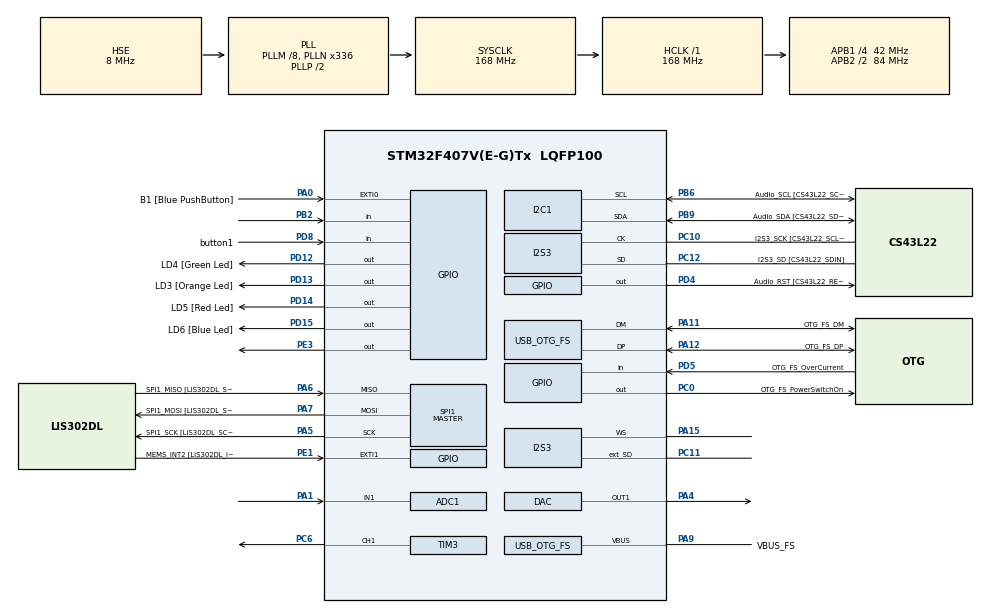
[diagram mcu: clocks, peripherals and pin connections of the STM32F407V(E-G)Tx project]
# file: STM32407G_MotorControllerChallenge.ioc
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ADC1.Channel-0\#ChannelRegularConversion=ADC_CHANNEL_1
ADC1.ExternalTrigConv=ADC_EXTERNALTRIGCONV_T2_CC2
ADC1.NbrOfConversionFlag=1
ADC1.Rank-0\#ChannelRegularConversion=1
ADC1.SamplingTime-0\#ChannelRegularConversion=ADC_SAMPLETIME_3CYCLES
ADC1.master=1
Dma.ADC1.0.Direction=DMA_PERIPH_TO_MEMORY
Dma.ADC1.0.FIFOMode=DMA_FIFOMODE_DISABLE
Dma.ADC1.0.Instance=DMA2_Stream0
Dma.ADC1.0.MemDataAlignment=DMA_MDATAALIGN_WORD
Dma.ADC1.0.MemInc=DMA_MINC_ENABLE
Dma.ADC1.0.Mode=DMA_NORMAL
Dma.ADC1.0.PeriphDataAlignment=DMA_PDATAALIGN_WORD
Dma.ADC1.0.PeriphInc=DMA_PINC_DISABLE
Dma.ADC1.0.Priority=DMA_PRIORITY_LOW
Dma.Request0=ADC1
I2S3.ErrorAudioFreq=0.0 %
I2S3.FullDuplexMode=I2S_FULLDUPLEXMODE_ENABLE
I2S3.Instance=SPI$Index
I2S3.RealAudioFreq=8.0 KHz
I2S3.VirtualMode=I2S_MODE_MASTER
Mcu.Family=STM32F4
Mcu.Name=STM32F407V(E-G)Tx
Mcu.Package=LQFP100
NVIC.DMA2_Stream0_IRQn=true\:0\:0\:false\:false\:true\:false\:true\:true
NVIC.OTG_FS_IRQn=true\:0\:0\:false\:false\:true\:true\:true\:true
NVIC.PriorityGroup=NVIC_PRIORITYGROUP_0
PA0-WKUP.GPIO_Label=B1 [Blue PushButton]
PA0-WKUP.GPIO_ModeDefaultEXTI=GPIO_MODE_EVT_RISING
PA0-WKUP.GPIO_PuPd=GPIO_NOPULL
PA0-WKUP.Signal=GPXTI0
PA1.Signal=ADCx_IN1
PA10.GPIO_Label=OTG_FS_ID
PA10.GPIO_Mode=GPIO_MODE_AF_PP
PA10.GPIO_PuPd=GPIO_NOPULL
PA10.GPIO_Speed=GPIO_SPEED_FREQ_LOW
PA10.Signal=USB_OTG_FS_ID
PA11.GPIO_Label=OTG_FS_DM
PA11.GPIO_Mode=GPIO_MODE_AF_PP
PA11.GPIO_PuPd=GPIO_NOPULL
PA11.GPIO_Speed=GPIO_SPEED_FREQ_LOW
PA11.Mode=Host_Only
PA11.Signal=USB_OTG_FS_DM
PA12.GPIO_Label=OTG_FS_DP
PA12.GPIO_Mode=GPIO_MODE_AF_PP
PA12.GPIO_PuPd=GPIO_NOPULL
PA12.GPIO_Speed=GPIO_SPEED_FREQ_LOW
PA12.Mode=Host_Only
PA12.Signal=USB_OTG_FS_DP
PA13.GPIO_Label=SWDIO
PA13.Mode=Serial_Wire
PA13.Signal=SYS_JTMS-SWDIO
PA14.GPIO_Label=SWCLK
PA14.Mode=Serial_Wire
PA14.Signal=SYS_JTCK-SWCLK
PA15.Mode=Full_Duplex_Master
PA15.Signal=I2S3_WS
PA4.Signal=COMP_DAC1_group
PA5.GPIO_Label=SPI1_SCK [LIS302DL_SCL/SPC]
PA5.GPIO_Mode=GPIO_MODE_AF_PP
PA5.GPIO_PuPd=GPIO_NOPULL
PA5.GPIO_Speed=GPIO_SPEED_FREQ_LOW
PA5.Mode=Full_Duplex_Master
PA5.Signal=SPI1_SCK
PA6.GPIO_Label=SPI1_MISO [LIS302DL_SDO]
PA6.GPIO_Mode=GPIO_MODE_AF_PP
PA6.GPIO_PuPd=GPIO_NOPULL
PA6.GPIO_Speed=GPIO_SPEED_FREQ_LOW
PA6.Mode=Full_Duplex_Master
PA6.Signal=SPI1_MISO
PA7.GPIO_Label=SPI1_MOSI [LIS302DL_SDA/SDI/SDO]
PA7.GPIO_Mode=GPIO_MODE_AF_PP
PA7.GPIO_PuPd=GPIO_NOPULL
PA7.GPIO_Speed=GPIO_SPEED_FREQ_LOW
PA7.Mode=Full_Duplex_Master
PA7.Signal=SPI1_MOSI
PA9.GPIO_Label=VBUS_FS
PA9.GPIO_Mode=GPIO_MODE_INPUT
PA9.GPIO_PuPd=GPIO_NOPULL
PA9.Mode=Activate_VBUS
PA9.Signal=USB_OTG_FS_VBUS
PB10.GPIO_Label=CLK_IN [MP45DT02_CLK]
PB10.GPIO_Mode=GPIO_MODE_AF_PP
PB10.GPIO_PuPd=GPIO_NOPULL
PB10.GPIO_Speed=GPIO_SPEED_FREQ_LOW
PB10.Signal=I2S2_CK
PB2.Signal=GPIO_Input
PB3.GPIO_Label=SWO
PB3.Signal=SYS_JTDO-SWO
PB6.GPIO_Label=Audio_SCL [CS43L22_SCL]
PB6.GPIO_Mode=GPIO_MODE_AF_OD
PB6.GPIO_Pu=GPIO_PULLUP
PB6.GPIO_PuPd=GPIO_NOPULL
PB6.GPIO_Speed=GPIO_SPEED_FREQ_LOW
PB6.Mode=I2C
PB6.Signal=I2C1_SCL
PB9.GPIO_Label=Audio_SDA [CS43L22_SDA]
PB9.GPIO_Mode=GPIO_MODE_AF_OD
PB9.GPIO_Pu=GPIO_PULLUP
PB9.GPIO_PuPd=GPIO_NOPULL
PB9.GPIO_Speed=GPIO_SPEED_FREQ_LOW
PB9.Mode=I2C
PB9.Signal=I2C1_SDA
PC0.GPIO_Label=OTG_FS_PowerSwitchOn
PC0.GPIO_PuPd=GPIO_NOPULL
PC0.GPIO_Speed=GPIO_SPEED_FREQ_LOW
PC0.PinState=GPIO_PIN_SET
PC0.Signal=GPIO_Output
PC10.GPIO_Label=I2S3_SCK [CS43L22_SCLK]
PC10.GPIO_Mode=GPIO_MODE_AF_PP
PC10.GPIO_PuPd=GPIO_NOPULL
PC10.GPIO_Speed=GPIO_SPEED_FREQ_LOW
PC10.Mode=Full_Duplex_Master
PC10.Signal=I2S3_CK
PC11.Mode=Full_Duplex_Master
PC11.Signal=I2S3_ext_SD
PC12.GPIO_Label=I2S3_SD [CS43L22_SDIN]
PC12.GPIO_Mode=GPIO_MODE_AF_PP
PC12.GPIO_PuPd=GPIO_NOPULL
PC12.GPIO_Speed=GPIO_SPEED_FREQ_LOW
PC12.Mode=Full_Duplex_Master
PC12.Signal=I2S3_SD
PC14-OSC32_IN.GPIO_Label=PC14-OSC32_IN
PC14-OSC32_IN.Mode=LSE-External-Oscillator
PC14-OSC32_IN.Signal=RCC_OSC32_IN
PC15-OSC32_OUT.GPIO_Label=PC15-OSC32_OUT
PC15-OSC32_OUT.Mode=LSE-External-Oscillator
PC15-OSC32_OUT.Signal=RCC_OSC32_OUT
PC3.GPIO_Label=PDM_OUT [MP45DT02_DOUT]
PC3.GPIO_Mode=GPIO_MODE_AF_PP
PC3.GPIO_PuPd=GPIO_NOPULL
PC3.GPIO_Speed=GPIO_SPEED_FREQ_LOW
PC3.Signal=I2S2_SD
PC6.Signal=S_TIM3_CH1
PC7.GPIO_Label=I2S3_MCK [CS43L22_MCLK]
PC7.GPIO_Mode=GPIO_MODE_AF_PP
PC7.GPIO_PuPd=GPIO_NOPULL
PC7.GPIO_Speed=GPIO_SPEED_FREQ_LOW
PC7.Signal=I2S3_MCK
PD12.GPIO_Label=LD4 [Green Led]
PD12.GPIO_PuPd=GPIO_NOPULL
PD12.GPIO_Speed=GPIO_SPEED_FREQ_LOW
PD12.Signal=GPIO_Output
PD13.GPIO_Label=LD3 [Orange Led]
PD13.GPIO_PuPd=GPIO_NOPULL
PD13.GPIO_Speed=GPIO_SPEED_FREQ_LOW
PD13.Signal=GPIO_Output
PD14.GPIO_Label=LD5 [Red Led]
PD14.GPIO_PuPd=GPIO_NOPULL
PD14.GPIO_Speed=GPIO_SPEED_FREQ_LOW
PD14.Signal=GPIO_Output
PD15.GPIO_Label=LD6 [Blue Led]
PD15.GPIO_PuPd=GPIO_NOPULL
PD15.GPIO_Speed=GPIO_SPEED_FREQ_LOW
PD15.Signal=GPIO_Output
PD4.GPIO_Label=Audio_RST [CS43L22_RESET]
PD4.GPIO_PuPd=GPIO_NOPULL
PD4.GPIO_Speed=GPIO_SPEED_FREQ_LOW
PD4.Signal=GPIO_Output
PD5.GPIO_Label=OTG_FS_OverCurrent
PD5.GPIO_Mode=GPIO_MODE_INPUT
PD5.GPIO_PuPd=GPIO_NOPULL
PD5.Signal=GPIO_Input
PD8.GPIO_Label=button1
PD8.GPIO_PuPd=GPIO_PULLDOWN
PD8.Signal=GPIO_Input
PE1.GPIO_Label=MEMS_INT2 [LIS302DL_INT2]
PE1.GPIO_ModeDefaultEXTI=GPIO_MODE_EVT_RISING
PE1.GPIO_PuPd=GPIO_NOPULL
PE1.Signal=GPXTI1
PE3.Signal=GPIO_Output
PH0-OSC_IN.GPIO_Label=PH0-OSC_IN
PH0-OSC_IN.Mode=HSE-External-Oscillator
PH0-OSC_IN.Signal=RCC_OSC_IN
PH1-OSC_OUT.GPIO_Label=PH1-OSC_OUT
PH1-OSC_OUT.Mode=HSE-External-Oscillator
PH1-OSC_OUT.Signal=RCC_OSC_OUT
ProjectManager.HeapSize=0x200
ProjectManager.StackSize=0x400
ProjectManager.TargetToolchain=STM32CubeIDE
RCC.48MHZClocksFreq_Value=48000000
RCC.AHBFreq_Value=168000000
RCC.APB1CLKDivider=RCC_HCLK_DIV4
RCC.APB1Freq_Value=42000000
RCC.APB1TimFreq_Value=84000000
RCC.APB2CLKDivider=RCC_HCLK_DIV2
RCC.APB2Freq_Value=84000000
RCC.APB2TimFreq_Value=168000000
RCC.CortexFreq_Value=168000000
RCC.HCLKFreq_Value=168000000
RCC.HSE_VALUE=8000000
RCC.HSI_VALUE=16000000
RCC.PLLM=8
RCC.PLLN=336
RCC.PLLQ=7
RCC.SYSCLKFreq_VALUE=168000000
RCC.SYSCLKSource=RCC_SYSCLKSOURCE_PLLCLK
RCC.VCOOutputFreq_Value=336000000
SH.ADCx_IN1.0=ADC1_IN1,IN1
SH.COMP_DAC1_group.0=DAC_OUT1,DAC_OUT1
SH.S_TIM3_CH1.0=TIM3_CH1,PWM Generation1 CH1
SPI1.BaudRatePrescaler-Full_Duplex_Master=SPI_BAUDRATEPRESCALER_2
SPI1.CalculateBaudRate-Full_Duplex_Master=42.0 MBits/s
SPI1.Direction=SPI_DIRECTION_2LINES
SPI1.Mode=SPI_MODE_MASTER
SPI1.Mode-Full_Duplex_Master=SPI_MODE_MASTER
SPI1.VirtualType=VM_MASTER
TIM2.Period=999
TIM2.Prescaler=8399
TIM2.TIM_MasterOutputTrigger=TIM_TRGO_UPDATE
TIM3.Channel-PWM\ Generation1\ CH1=TIM_CHANNEL_1
TIM3.Period=1000
USB_HOST.BSP.number=1
USB_HOST.USBH_HandleTypeDef-CDC_FS=hUsbHostFS
USB_HOST.VirtualModeFS=Cdc
USB_HOST0.BSP.STBoard=false
USB_HOST0.BSP.api=Unknown
USB_HOST0.BSP.instance=PC0
USB_HOST0.BSP.ip=GPIO
USB_HOST0.BSP.mode=Output
USB_HOST0.BSP.name=Drive_VBUS_FS
USB_HOST0.BSP.solution=PC0
USB_OTG_FS.VirtualMode=Host_Only
USB_OTG_FS.phy_itface=HCD_PHY_EMBEDDED
VP_TIM2_VS_ClockSourceINT.Mode=Internal
VP_TIM3_VS_ClockSourceINT.Mode=Internal
VP_USB_HOST_VS_USB_HOST_CDC_FS.Mode=CDC_FS
board=STM32F407G-DISC1

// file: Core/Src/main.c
/* USER CODE BEGIN Header */
/**
  ******************************************************************************
  * @file           : main.c
  * @brief          : Main program body
  ******************************************************************************
  * @attention
  *
  * Copyright (c) 2025 STMicroelectronics.
  * All rights reserved.
  *
  * This software is licensed under terms that can be found in the LICENSE file
  * in the root directory of this software component.
  * If no LICENSE file comes with this software, it is provided AS-IS.
  *
  ******************************************************************************
  */
/* USER CODE END Header */
#include "main.h"
#include "usb_host.h"

/* USER CODE BEGIN Includes */
#include "stm32f4xx_hal.h"
#include <stdbool.h>
/* USER CODE END Includes */

ADC_HandleTypeDef hadc1;
DMA_HandleTypeDef hdma_adc1;

DAC_HandleTypeDef hdac;

I2C_HandleTypeDef hi2c1;

I2S_HandleTypeDef hi2s3;

SPI_HandleTypeDef hspi1;

TIM_HandleTypeDef htim2;
TIM_HandleTypeDef htim3;

/* USER CODE BEGIN PV */
#define BAT_LOW_mV      2000  // 2 V cut-off
#define BAT_HIGH_mV     3000  // 3 V restart
#define CLICK_WINDOW_MS 500   // interval to group clicks
#define VREF_mV         3000  // PA1 is referenced to 3 V analog domain
volatile uint16_t adc_raw = 0;
volatile uint32_t last_click_ms = 0;
volatile uint8_t  click_count   = 0;
volatile bool     motor_enabled = true;
/* USER CODE END PV */

void SystemClock_Config(void);
static void MX_GPIO_Init(void);
static void MX_DMA_Init(void);
static void MX_I2C1_Init(void);
static void MX_SPI1_Init(void);
static void MX_ADC1_Init(void);
static void MX_TIM2_Init(void);
static void MX_DAC_Init(void);
static void MX_I2S3_Init(void);
static void MX_TIM3_Init(void);
void MX_USB_HOST_Process(void);

/* USER CODE BEGIN 0 */
static uint32_t mv_from_raw(uint16_t raw);
static void     apply_motor_state(void);
static void     set_direction(uint8_t dir);
typedef enum { DIR_STOP = 0, DIR_CCW, DIR_CW } motor_dir_t;
volatile motor_dir_t motor_dir = DIR_CW;

/* USER CODE END 0 */

int main(void)
{

  /* USER CODE BEGIN 1 */
	static uint32_t mv_from_raw(uint16_t raw)
	{
	  return (uint32_t)raw * VREF_mV / 4095;  // 12-bit
	}

	static void apply_motor_state(void)
	{
	  if (!motor_enabled || motor_dir == DIR_STOP) {
	      __HAL_TIM_SET_COMPARE(&htim4, TIM_CHANNEL_1, 0);  // PWM 0 %
	      return;
	  }

	  __HAL_TIM_SET_COMPARE(&htim4, TIM_CHANNEL_1, 500);
	}

	static void set_direction(uint8_t dirClicks)
	{
	  switch (dirClicks) {
	    case 1: motor_dir = DIR_STOP; break;
	    case 2: motor_dir = DIR_CCW;  break;
	    case 3: motor_dir = DIR_CW;   break;
	    default: break;
	  }
	  apply_motor_state();
	}

  /* USER CODE END 1 */

  /* MCU Configuration--------------------------------------------------------*/

  /* Reset of all peripherals, Initializes the Flash interface and the Systick. */
  HAL_Init();

  /* Configure the system clock */
  SystemClock_Config();

  /* Initialize all configured peripherals */
  MX_GPIO_Init();
  MX_DMA_Init();
  MX_I2C1_Init();
  MX_SPI1_Init();
  MX_USB_HOST_Init();
  MX_ADC1_Init();
  MX_TIM2_Init();
  MX_DAC_Init();
  MX_I2S3_Init();
  MX_TIM3_Init();
  /* USER CODE BEGIN 2 */
  HAL_DAC_Start(&hdac, DAC_CHANNEL_1);
  HAL_TIM_PWM_Start(&htim3, TIM_CHANNEL_1);
  HAL_ADC_Start_DMA(&hadc1, (uint32_t*)&adc_raw,1);
  HAL_TIM_Base_Start_IT(&htim2);
  /* USER CODE END 2 */

  /* Infinite loop */
  while (1)
  {
    MX_USB_HOST_Process();

  }
}

void SystemClock_Config(void)
{
  RCC_OscInitTypeDef RCC_OscInitStruct = {0};
  RCC_ClkInitTypeDef RCC_ClkInitStruct = {0};

  /** Configure the main internal regulator output voltage
  */
  __HAL_RCC_PWR_CLK_ENABLE();
  __HAL_PWR_VOLTAGESCALING_CONFIG(PWR_REGULATOR_VOLTAGE_SCALE1);

  /** Initializes the RCC Oscillators according to the specified parameters
  * in the RCC_OscInitTypeDef structure.
  */
  RCC_OscInitStruct.OscillatorType = RCC_OSCILLATORTYPE_HSE;
  RCC_OscInitStruct.HSEState = RCC_HSE_ON;
  RCC_OscInitStruct.PLL.PLLState = RCC_PLL_ON;
  RCC_OscInitStruct.PLL.PLLSource = RCC_PLLSOURCE_HSE;
  RCC_OscInitStruct.PLL.PLLM = 8;
  RCC_OscInitStruct.PLL.PLLN = 336;
  RCC_OscInitStruct.PLL.PLLP = RCC_PLLP_DIV2;
  RCC_OscInitStruct.PLL.PLLQ = 7;
  if (HAL_RCC_OscConfig(&RCC_OscInitStruct) != HAL_OK)
  {
    Error_Handler();
  }

  /** Initializes the CPU, AHB and APB buses clocks
  */
  RCC_ClkInitStruct.ClockType = RCC_CLOCKTYPE_HCLK|RCC_CLOCKTYPE_SYSCLK
                              |RCC_CLOCKTYPE_PCLK1|RCC_CLOCKTYPE_PCLK2;
  RCC_ClkInitStruct.SYSCLKSource = RCC_SYSCLKSOURCE_PLLCLK;
  RCC_ClkInitStruct.AHBCLKDivider = RCC_SYSCLK_DIV1;
  RCC_ClkInitStruct.APB1CLKDivider = RCC_HCLK_DIV4;
  RCC_ClkInitStruct.APB2CLKDivider = RCC_HCLK_DIV2;

  if (HAL_RCC_ClockConfig(&RCC_ClkInitStruct, FLASH_LATENCY_5) != HAL_OK)
  {
    Error_Handler();
  }
}

static void MX_ADC1_Init(void)
{

  ADC_ChannelConfTypeDef sConfig = {0};

  /** Configure the global features of the ADC (Clock, Resolution, Data Alignment and number of conversion)
  */
  hadc1.Instance = ADC1;
  hadc1.Init.ClockPrescaler = ADC_CLOCK_SYNC_PCLK_DIV4;
  hadc1.Init.Resolution = ADC_RESOLUTION_12B;
  hadc1.Init.ScanConvMode = DISABLE;
  hadc1.Init.ContinuousConvMode = DISABLE;
  hadc1.Init.DiscontinuousConvMode = DISABLE;
  hadc1.Init.ExternalTrigConvEdge = ADC_EXTERNALTRIGCONVEDGE_RISING;
  hadc1.Init.ExternalTrigConv = ADC_EXTERNALTRIGCONV_T2_CC2;
  hadc1.Init.DataAlign = ADC_DATAALIGN_RIGHT;
  hadc1.Init.NbrOfConversion = 1;
  hadc1.Init.DMAContinuousRequests = DISABLE;
  hadc1.Init.EOCSelection = ADC_EOC_SINGLE_CONV;
  if (HAL_ADC_Init(&hadc1) != HAL_OK)
  {
    Error_Handler();
  }

  /** Configure for the selected ADC regular channel its corresponding rank in the sequencer and its sample time.
  */
  sConfig.Channel = ADC_CHANNEL_1;
  sConfig.Rank = 1;
  sConfig.SamplingTime = ADC_SAMPLETIME_3CYCLES;
  if (HAL_ADC_ConfigChannel(&hadc1, &sConfig) != HAL_OK)
  {
    Error_Handler();
  }

}

static void MX_DAC_Init(void)
{

  DAC_ChannelConfTypeDef sConfig = {0};

  /** DAC Initialization
  */
  hdac.Instance = DAC;
  if (HAL_DAC_Init(&hdac) != HAL_OK)
  {
    Error_Handler();
  }

  /** DAC channel OUT1 config
  */
  sConfig.DAC_Trigger = DAC_TRIGGER_NONE;
  sConfig.DAC_OutputBuffer = DAC_OUTPUTBUFFER_ENABLE;
  if (HAL_DAC_ConfigChannel(&hdac, &sConfig, DAC_CHANNEL_1) != HAL_OK)
  {
    Error_Handler();
  }

}

static void MX_I2C1_Init(void)
{

  hi2c1.Instance = I2C1;
  hi2c1.Init.ClockSpeed = 100000;
  hi2c1.Init.DutyCycle = I2C_DUTYCYCLE_2;
  hi2c1.Init.OwnAddress1 = 0;
  hi2c1.Init.AddressingMode = I2C_ADDRESSINGMODE_7BIT;
  hi2c1.Init.DualAddressMode = I2C_DUALADDRESS_DISABLE;
  hi2c1.Init.OwnAddress2 = 0;
  hi2c1.Init.GeneralCallMode = I2C_GENERALCALL_DISABLE;
  hi2c1.Init.NoStretchMode = I2C_NOSTRETCH_DISABLE;
  if (HAL_I2C_Init(&hi2c1) != HAL_OK)
  {
    Error_Handler();
  }

}

static void MX_I2S3_Init(void)
{

  hi2s3.Instance = SPI3;
  hi2s3.Init.Mode = I2S_MODE_MASTER_TX;
  hi2s3.Init.Standard = I2S_STANDARD_PHILIPS;
  hi2s3.Init.DataFormat = I2S_DATAFORMAT_16B;
  hi2s3.Init.MCLKOutput = I2S_MCLKOUTPUT_DISABLE;
  hi2s3.Init.AudioFreq = I2S_AUDIOFREQ_8K;
  hi2s3.Init.CPOL = I2S_CPOL_LOW;
  hi2s3.Init.ClockSource = I2S_CLOCK_PLL;
  hi2s3.Init.FullDuplexMode = I2S_FULLDUPLEXMODE_ENABLE;
  if (HAL_I2S_Init(&hi2s3) != HAL_OK)
  {
    Error_Handler();
  }

}

static void MX_SPI1_Init(void)
{

  /* SPI1 parameter configuration*/
  hspi1.Instance = SPI1;
  hspi1.Init.Mode = SPI_MODE_MASTER;
  hspi1.Init.Direction = SPI_DIRECTION_2LINES;
  hspi1.Init.DataSize = SPI_DATASIZE_8BIT;
  hspi1.Init.CLKPolarity = SPI_POLARITY_LOW;
  hspi1.Init.CLKPhase = SPI_PHASE_1EDGE;
  hspi1.Init.NSS = SPI_NSS_SOFT;
  hspi1.Init.BaudRatePrescaler = SPI_BAUDRATEPRESCALER_2;
  hspi1.Init.FirstBit = SPI_FIRSTBIT_MSB;
  hspi1.Init.TIMode = SPI_TIMODE_DISABLE;
  hspi1.Init.CRCCalculation = SPI_CRCCALCULATION_DISABLE;
  hspi1.Init.CRCPolynomial = 10;
  if (HAL_SPI_Init(&hspi1) != HAL_OK)
  {
    Error_Handler();
  }

}

static void MX_TIM2_Init(void)
{

  TIM_ClockConfigTypeDef sClockSourceConfig = {0};
  TIM_MasterConfigTypeDef sMasterConfig = {0};

  htim2.Instance = TIM2;
  htim2.Init.Prescaler = 8399;
  htim2.Init.CounterMode = TIM_COUNTERMODE_UP;
  htim2.Init.Period = 999;
  htim2.Init.ClockDivision = TIM_CLOCKDIVISION_DIV1;
  htim2.Init.AutoReloadPreload = TIM_AUTORELOAD_PRELOAD_DISABLE;
  if (HAL_TIM_Base_Init(&htim2) != HAL_OK)
  {
    Error_Handler();
  }
  sClockSourceConfig.ClockSource = TIM_CLOCKSOURCE_INTERNAL;
  if (HAL_TIM_ConfigClockSource(&htim2, &sClockSourceConfig) != HAL_OK)
  {
    Error_Handler();
  }
  sMasterConfig.MasterOutputTrigger = TIM_TRGO_UPDATE;
  sMasterConfig.MasterSlaveMode = TIM_MASTERSLAVEMODE_DISABLE;
  if (HAL_TIMEx_MasterConfigSynchronization(&htim2, &sMasterConfig) != HAL_OK)
  {
    Error_Handler();
  }

}

static void MX_TIM3_Init(void)
{

  TIM_ClockConfigTypeDef sClockSourceConfig = {0};
  TIM_MasterConfigTypeDef sMasterConfig = {0};
  TIM_OC_InitTypeDef sConfigOC = {0};

  htim3.Instance = TIM3;
  htim3.Init.Prescaler = 0;
  htim3.Init.CounterMode = TIM_COUNTERMODE_UP;
  htim3.Init.Period = 1000;
  htim3.Init.ClockDivision = TIM_CLOCKDIVISION_DIV1;
  htim3.Init.AutoReloadPreload = TIM_AUTORELOAD_PRELOAD_DISABLE;
  if (HAL_TIM_Base_Init(&htim3) != HAL_OK)
  {
    Error_Handler();
  }
  sClockSourceConfig.ClockSource = TIM_CLOCKSOURCE_INTERNAL;
  if (HAL_TIM_ConfigClockSource(&htim3, &sClockSourceConfig) != HAL_OK)
  {
    Error_Handler();
  }
  if (HAL_TIM_PWM_Init(&htim3) != HAL_OK)
  {
    Error_Handler();
  }
  sMasterConfig.MasterOutputTrigger = TIM_TRGO_RESET;
  sMasterConfig.MasterSlaveMode = TIM_MASTERSLAVEMODE_DISABLE;
  if (HAL_TIMEx_MasterConfigSynchronization(&htim3, &sMasterConfig) != HAL_OK)
  {
    Error_Handler();
  }
  sConfigOC.OCMode = TIM_OCMODE_PWM1;
  sConfigOC.Pulse = 0;
  sConfigOC.OCPolarity = TIM_OCPOLARITY_HIGH;
  sConfigOC.OCFastMode = TIM_OCFAST_DISABLE;
  if (HAL_TIM_PWM_ConfigChannel(&htim3, &sConfigOC, TIM_CHANNEL_1) != HAL_OK)
  {
    Error_Handler();
  }
  HAL_TIM_MspPostInit(&htim3);

}

static void MX_DMA_Init(void)
{

  /* DMA controller clock enable */
  __HAL_RCC_DMA2_CLK_ENABLE();

  /* DMA interrupt init */
  /* DMA2_Stream0_IRQn interrupt configuration */
  HAL_NVIC_SetPriority(DMA2_Stream0_IRQn, 0, 0);
  HAL_NVIC_EnableIRQ(DMA2_Stream0_IRQn);

}

static void MX_GPIO_Init(void)
{
  GPIO_InitTypeDef GPIO_InitStruct = {0};

  /* GPIO Ports Clock Enable */
  __HAL_RCC_GPIOE_CLK_ENABLE();
  __HAL_RCC_GPIOC_CLK_ENABLE();
  __HAL_RCC_GPIOH_CLK_ENABLE();
  __HAL_RCC_GPIOA_CLK_ENABLE();
  __HAL_RCC_GPIOB_CLK_ENABLE();
  __HAL_RCC_GPIOD_CLK_ENABLE();

  /*Configure GPIO pin Output Level */
  HAL_GPIO_WritePin(GPIOE, GPIO_PIN_3, GPIO_PIN_RESET);

  /*Configure GPIO pin Output Level */
  HAL_GPIO_WritePin(OTG_FS_PowerSwitchOn_GPIO_Port, OTG_FS_PowerSwitchOn_Pin, GPIO_PIN_SET);

  /*Configure GPIO pin Output Level */
  HAL_GPIO_WritePin(GPIOD, LD4_Pin|LD3_Pin|LD5_Pin|LD6_Pin
                          |Audio_RST_Pin, GPIO_PIN_RESET);

  /*Configure GPIO pin : PE3 */
  GPIO_InitStruct.Pin = GPIO_PIN_3;
  GPIO_InitStruct.Mode = GPIO_MODE_OUTPUT_PP;
  GPIO_InitStruct.Pull = GPIO_NOPULL;
  GPIO_InitStruct.Speed = GPIO_SPEED_FREQ_LOW;
  HAL_GPIO_Init(GPIOE, &GPIO_InitStruct);

  /*Configure GPIO pin : OTG_FS_PowerSwitchOn_Pin */
  GPIO_InitStruct.Pin = OTG_FS_PowerSwitchOn_Pin;
  GPIO_InitStruct.Mode = GPIO_MODE_OUTPUT_PP;
  GPIO_InitStruct.Pull = GPIO_NOPULL;
  GPIO_InitStruct.Speed = GPIO_SPEED_FREQ_LOW;
  HAL_GPIO_Init(OTG_FS_PowerSwitchOn_GPIO_Port, &GPIO_InitStruct);

  /*Configure GPIO pin : PDM_OUT_Pin */
  GPIO_InitStruct.Pin = PDM_OUT_Pin;
  GPIO_InitStruct.Mode = GPIO_MODE_AF_PP;
  GPIO_InitStruct.Pull = GPIO_NOPULL;
  GPIO_InitStruct.Speed = GPIO_SPEED_FREQ_LOW;
  GPIO_InitStruct.Alternate = GPIO_AF5_SPI2;
  HAL_GPIO_Init(PDM_OUT_GPIO_Port, &GPIO_InitStruct);

  /*Configure GPIO pin : B1_Pin */
  GPIO_InitStruct.Pin = B1_Pin;
  GPIO_InitStruct.Mode = GPIO_MODE_EVT_RISING;
  GPIO_InitStruct.Pull = GPIO_NOPULL;
  HAL_GPIO_Init(B1_GPIO_Port, &GPIO_InitStruct);

  /*Configure GPIO pin : PB2 */
  GPIO_InitStruct.Pin = GPIO_PIN_2;
  GPIO_InitStruct.Mode = GPIO_MODE_INPUT;
  GPIO_InitStruct.Pull = GPIO_NOPULL;
  HAL_GPIO_Init(GPIOB, &GPIO_InitStruct);

  /*Configure GPIO pin : CLK_IN_Pin */
  GPIO_InitStruct.Pin = CLK_IN_Pin;
  GPIO_InitStruct.Mode = GPIO_MODE_AF_PP;
  GPIO_InitStruct.Pull = GPIO_NOPULL;
  GPIO_InitStruct.Speed = GPIO_SPEED_FREQ_LOW;
  GPIO_InitStruct.Alternate = GPIO_AF5_SPI2;
  HAL_GPIO_Init(CLK_IN_GPIO_Port, &GPIO_InitStruct);

  /*Configure GPIO pin : button1_Pin */
  GPIO_InitStruct.Pin = button1_Pin;
  GPIO_InitStruct.Mode = GPIO_MODE_INPUT;
  GPIO_InitStruct.Pull = GPIO_PULLDOWN;
  HAL_GPIO_Init(button1_GPIO_Port, &GPIO_InitStruct);

  /*Configure GPIO pins : LD4_Pin LD3_Pin LD5_Pin LD6_Pin
                           Audio_RST_Pin */
  GPIO_InitStruct.Pin = LD4_Pin|LD3_Pin|LD5_Pin|LD6_Pin
                          |Audio_RST_Pin;
  GPIO_InitStruct.Mode = GPIO_MODE_OUTPUT_PP;
  GPIO_InitStruct.Pull = GPIO_NOPULL;
  GPIO_InitStruct.Speed = GPIO_SPEED_FREQ_LOW;
  HAL_GPIO_Init(GPIOD, &GPIO_InitStruct);

  /*Configure GPIO pin : OTG_FS_OverCurrent_Pin */
  GPIO_InitStruct.Pin = OTG_FS_OverCurrent_Pin;
  GPIO_InitStruct.Mode = GPIO_MODE_INPUT;
  GPIO_InitStruct.Pull = GPIO_NOPULL;
  HAL_GPIO_Init(OTG_FS_OverCurrent_GPIO_Port, &GPIO_InitStruct);

  /*Configure GPIO pin : MEMS_INT2_Pin */
  GPIO_InitStruct.Pin = MEMS_INT2_Pin;
  GPIO_InitStruct.Mode = GPIO_MODE_EVT_RISING;
  GPIO_InitStruct.Pull = GPIO_NOPULL;
  HAL_GPIO_Init(MEMS_INT2_GPIO_Port, &GPIO_InitStruct);

}

/* USER CODE BEGIN 4 */
void HAL_ADC_ConvCpltCallback(ADC_HandleTypeDef *hadc)
{
  if (hadc != &hadc1) return;

  uint32_t mv = mv_from_raw(adc_raw);

  HAL_DAC_SetValue(&hdac, DAC_CHANNEL_1, DAC_ALIGN_12B_R, adc_raw);

  if (motor_enabled && mv < BAT_LOW_mV) {
      motor_enabled = false;
      apply_motor_state();
  } else if (!motor_enabled && mv > BAT_HIGH_mV) {
      motor_enabled = true;
      apply_motor_state();
  }
}

void HAL_GPIO_EXTI_Callback(uint16_t GPIO_Pin)
{
  if (GPIO_Pin != GPIO_PIN_0) return;

  uint32_t now = HAL_GetTick();
  if (now - last_click_ms > CLICK_WINDOW_MS) {

      click_count = 0;
  }
  last_click_ms = now;
  click_count++;
}

void HAL_TIM_PeriodElapsedCallback(TIM_HandleTypeDef *htim)
{
  if (htim != &htim2) return;

  HAL_ADC_Start_DMA(&hadc1, (uint32_t*)&adc_raw,1);

  static uint32_t window_start = 0;
  if (HAL_GetTick() - window_start >= CLICK_WINDOW_MS) {
      if (click_count) {
          set_direction(click_count);
          click_count = 0;
      }
      window_start = HAL_GetTick();
  }
}
/* USER CODE END 4 */

void Error_Handler(void)
{
  __disable_irq();
  while (1)
  {
  }
}
